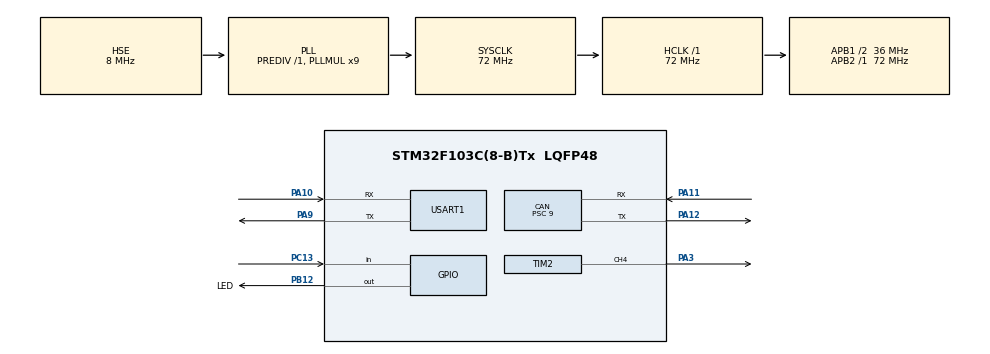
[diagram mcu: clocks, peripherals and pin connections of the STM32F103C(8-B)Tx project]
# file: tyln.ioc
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CAN.BS1=CAN_BS1_12TQ
CAN.BS2=CAN_BS2_3TQ
CAN.CalculateBaudRate=250000
CAN.CalculateTimeBit=4000
CAN.CalculateTimeQuantum=250.0
CAN.Prescaler=9
FREERTOS.Tasks01=CANTask,0,128,StartCANTask,Default,NULL,Dynamic,NULL,NULL;UARTTask,0,128,StartUARTTask,Default,NULL,Dynamic,NULL,NULL
Mcu.Family=STM32F1
Mcu.Name=STM32F103C(8-B)Tx
Mcu.Package=LQFP48
NVIC.PriorityGroup=NVIC_PRIORITYGROUP_4
NVIC.TIM2_IRQn=true\:5\:0\:false\:false\:true\:true\:true\:true\:true
NVIC.TIM4_IRQn=true\:15\:0\:false\:false\:true\:false\:false\:true\:true
NVIC.TimeBase=TIM4_IRQn
NVIC.TimeBaseIP=TIM4
NVIC.USART1_IRQn=true\:5\:0\:false\:false\:true\:true\:true\:true\:true
NVIC.USB_LP_CAN1_RX0_IRQn=true\:5\:0\:false\:false\:true\:true\:true\:true\:true
PA10.Mode=Asynchronous
PA10.Signal=USART1_RX
PA11.Mode=CAN_Activate
PA11.Signal=CAN_RX
PA12.Mode=CAN_Activate
PA12.Signal=CAN_TX
PA13.Mode=Serial_Wire
PA13.Signal=SYS_JTMS-SWDIO
PA14.Mode=Serial_Wire
PA14.Signal=SYS_JTCK-SWCLK
PA3.Signal=S_TIM2_CH4
PA9.Mode=Asynchronous
PA9.Signal=USART1_TX
PB12.GPIO_Label=LED
PB12.Signal=GPIO_Output
PC13-TAMPER-RTC.Signal=GPIO_Input
PD0-OSC_IN.Mode=HSE-External-Oscillator
PD0-OSC_IN.Signal=RCC_OSC_IN
PD1-OSC_OUT.Mode=HSE-External-Oscillator
PD1-OSC_OUT.Signal=RCC_OSC_OUT
ProjectManager.HeapSize=0x200
ProjectManager.StackSize=0x400
ProjectManager.TargetToolchain=CMake
RCC.AHBFreq_Value=72000000
RCC.APB1CLKDivider=RCC_HCLK_DIV2
RCC.APB1Freq_Value=36000000
RCC.APB1TimFreq_Value=72000000
RCC.APB2Freq_Value=72000000
RCC.APB2TimFreq_Value=72000000
RCC.HCLKFreq_Value=72000000
RCC.PLLMUL=RCC_PLL_MUL9
RCC.PLLSourceVirtual=RCC_PLLSOURCE_HSE
RCC.SYSCLKFreq_VALUE=72000000
RCC.SYSCLKSource=RCC_SYSCLKSOURCE_PLLCLK
RCC.USBFreq_Value=72000000
SH.S_TIM2_CH4.0=TIM2_CH4,PWM Generation4 CH4
TIM2.Channel-PWM\ Generation4\ CH4=TIM_CHANNEL_4
TIM2.Period=999
TIM2.Prescaler=71
USART1.VirtualMode=VM_ASYNC
VP_FREERTOS_VS_CMSIS_V1.Mode=CMSIS_V1
VP_SYS_VS_tim4.Mode=TIM4
VP_TIM2_VS_ClockSourceINT.Mode=Internal
board=custom

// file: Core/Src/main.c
/* USER CODE BEGIN Header */
/**
  ******************************************************************************
  * @file           : main.c
  * @brief          : Main program body
  ******************************************************************************
  */
/* USER CODE END Header */
#include "main.h"
#include "cmsis_os.h"

CAN_HandleTypeDef hcan;

osThreadId CANTaskHandle;
osThreadId UARTTaskHandle;
/* USER CODE BEGIN PV */
volatile uint8_t can_rx_flag = 0;
volatile uint16_t can_rx_value = 0;

volatile uint8_t usart_rx_flag = 0;
volatile uint16_t usart_rx_value = 0;

volatile uint32_t timer_tick = 0; // Donanım sayacı

/* PWM Duty Cycle for LED brightness on PA3
   0    = LED OFF
   500  = %50 Brightness
   1000 = %100 Brightness
*/
volatile int pwm_duty = 0;
volatile int led_state = 2; // PB12 LED state

uint8_t rx_data[2]; // Sadece 2 byte (16 bit) ham veri tutacak

/* Button states */
GPIO_PinState pa9_state;
GPIO_PinState pa10_state;

/* UART Haberleşme Değişkenleri */

uint8_t rx_byte;          // Gelen tek bir karakteri tutar
char rx_buffer[10];       // Gelen mesajı biriktirdiğimiz dizi (Örn: "500")
uint8_t rx_index = 0;     // Dizinin neresinde olduğumuzu tutar

CAN_TxHeaderTypeDef TxHeader;
uint8_t TxData[8];    // 8 Byte'lık CAN veri çerçevesi (Frame)
uint32_t TxMailbox;   // Verinin yollanacağı posta kutusu

/* Bilgisayardan gelen verileri okumak için gereken değişkenler */
CAN_RxHeaderTypeDef RxHeader;
uint8_t RxData[8];

/* 4 Adet Sabit CAN ID Tanımlaması (Standart 11-bit ID'ler) */
const uint32_t FIXED_IDS[4] = {0x10A, 0x20B, 0x30C, 0x40D};

/* USER CODE END PV */

void SystemClock_Config(void);
static void MX_GPIO_Init(void);
static void MX_TIM2_Init(void);
static void MX_CAN_Init(void);
static void MX_USART1_UART_Init(void);
void StartCANTask(void const * argument);
void StartUARTTask(void const * argument);

/* USER CODE BEGIN PFP */
void USART1_SendChar(char c);
void USART1_SendString(const char *str);
/* USER CODE END PFP */

int main(void)
{

  /* USER CODE BEGIN 1 */

  /* 0 = LED OFF, 1 = LED ON */

  /* USER CODE END 1 */

  /* MCU Configuration--------------------------------------------------------*/

  /* Reset of all peripherals, Initializes the Flash interface and the Systick. */
  HAL_Init();

  /* Configure the system clock */
  SystemClock_Config();

  /* Initialize all configured peripherals */
  MX_GPIO_Init();
  MX_TIM2_Init();
  MX_CAN_Init();
  MX_USART1_UART_Init();
  /* USER CODE BEGIN 2 */
    /* TIM2 PWM ve zamanlayıcı ayarları (LL kullanarak) */
    LL_TIM_CC_EnableChannel(TIM2, LL_TIM_CHANNEL_CH4);
    LL_TIM_ClearFlag_UPDATE(TIM2);
    LL_TIM_EnableIT_UPDATE(TIM2);
    LL_TIM_EnableCounter(TIM2);

  /* USART1 RXNE kesmesini aktif et */
  LL_USART_EnableIT_RXNE(USART1);

/* CAN Filtre Ayarları (Tüm ID'leri kabul edecek şekilde varsayılan ayar) */
  CAN_FilterTypeDef canfilterconfig;
  canfilterconfig.FilterActivation = CAN_FILTER_ENABLE;
  canfilterconfig.FilterBank = 0;
  canfilterconfig.FilterMode = CAN_FILTERMODE_IDMASK;
  canfilterconfig.FilterScale = CAN_FILTERSCALE_32BIT;
  canfilterconfig.FilterIdHigh = 0x0000;
  canfilterconfig.FilterIdLow = 0x0000;
  canfilterconfig.FilterMaskIdHigh = 0x0000;
  canfilterconfig.FilterMaskIdLow = 0x0000;
  canfilterconfig.FilterFIFOAssignment = CAN_RX_FIFO0;
  HAL_CAN_ConfigFilter(&hcan, &canfilterconfig);

  /* CAN Donanımını Başlat */
  HAL_CAN_Start(&hcan);

/* 2. CAN RX (Okuma) Kesmesini Aktif Et (BİLGİSAYARDAN VERİ ALMAK İÇİN KRİTİK) */
  HAL_CAN_ActivateNotification(&hcan, CAN_IT_RX_FIFO0_MSG_PENDING);

  /* USER CODE END 2 */

  /* Create the thread(s) */
  /* definition and creation of CANTask */
  osThreadDef(CANTask, StartCANTask, osPriorityNormal, 0, 128);
  CANTaskHandle = osThreadCreate(osThread(CANTask), NULL);

  /* definition and creation of UARTTask */
  osThreadDef(UARTTask, StartUARTTask, osPriorityNormal, 0, 128);
  UARTTaskHandle = osThreadCreate(osThread(UARTTask), NULL);

  /* Start scheduler */
  osKernelStart();

  /* We should never get here as control is now taken by the scheduler */

  /* Infinite loop */
  while (1)
  {

  }
}

void SystemClock_Config(void)
{
  RCC_OscInitTypeDef RCC_OscInitStruct = {0};
  RCC_ClkInitTypeDef RCC_ClkInitStruct = {0};

  /** Initializes the RCC Oscillators according to the specified parameters
  * in the RCC_OscInitTypeDef structure.
  */
  RCC_OscInitStruct.OscillatorType = RCC_OSCILLATORTYPE_HSE;
  RCC_OscInitStruct.HSEState = RCC_HSE_ON;
  RCC_OscInitStruct.HSEPredivValue = RCC_HSE_PREDIV_DIV1;
  RCC_OscInitStruct.HSIState = RCC_HSI_ON;
  RCC_OscInitStruct.PLL.PLLState = RCC_PLL_ON;
  RCC_OscInitStruct.PLL.PLLSource = RCC_PLLSOURCE_HSE;
  RCC_OscInitStruct.PLL.PLLMUL = RCC_PLL_MUL9;
  if (HAL_RCC_OscConfig(&RCC_OscInitStruct) != HAL_OK)
  {
    Error_Handler();
  }

  /** Initializes the CPU, AHB and APB buses clocks
  */
  RCC_ClkInitStruct.ClockType = RCC_CLOCKTYPE_HCLK|RCC_CLOCKTYPE_SYSCLK
                              |RCC_CLOCKTYPE_PCLK1|RCC_CLOCKTYPE_PCLK2;
  RCC_ClkInitStruct.SYSCLKSource = RCC_SYSCLKSOURCE_PLLCLK;
  RCC_ClkInitStruct.AHBCLKDivider = RCC_SYSCLK_DIV1;
  RCC_ClkInitStruct.APB1CLKDivider = RCC_HCLK_DIV2;
  RCC_ClkInitStruct.APB2CLKDivider = RCC_HCLK_DIV1;

  if (HAL_RCC_ClockConfig(&RCC_ClkInitStruct, FLASH_LATENCY_2) != HAL_OK)
  {
    Error_Handler();
  }
}

static void MX_CAN_Init(void)
{

  hcan.Instance = CAN1;
  hcan.Init.Prescaler = 9;
  hcan.Init.Mode = CAN_MODE_NORMAL;
  hcan.Init.SyncJumpWidth = CAN_SJW_1TQ;
  hcan.Init.TimeSeg1 = CAN_BS1_12TQ;
  hcan.Init.TimeSeg2 = CAN_BS2_3TQ;
  hcan.Init.TimeTriggeredMode = DISABLE;
  hcan.Init.AutoBusOff = DISABLE;
  hcan.Init.AutoWakeUp = DISABLE;
  hcan.Init.AutoRetransmission = DISABLE;
  hcan.Init.ReceiveFifoLocked = DISABLE;
  hcan.Init.TransmitFifoPriority = DISABLE;
  if (HAL_CAN_Init(&hcan) != HAL_OK)
  {
    Error_Handler();
  }

}

static void MX_TIM2_Init(void)
{

  LL_TIM_InitTypeDef TIM_InitStruct = {0};
  LL_TIM_OC_InitTypeDef TIM_OC_InitStruct = {0};

  LL_GPIO_InitTypeDef GPIO_InitStruct = {0};

  /* Peripheral clock enable */
  LL_APB1_GRP1_EnableClock(LL_APB1_GRP1_PERIPH_TIM2);

  /* TIM2 interrupt Init */
  NVIC_SetPriority(TIM2_IRQn, NVIC_EncodePriority(NVIC_GetPriorityGrouping(),5, 0));
  NVIC_EnableIRQ(TIM2_IRQn);

  TIM_InitStruct.Prescaler = 71;
  TIM_InitStruct.CounterMode = LL_TIM_COUNTERMODE_UP;
  TIM_InitStruct.Autoreload = 999;
  TIM_InitStruct.ClockDivision = LL_TIM_CLOCKDIVISION_DIV1;
  LL_TIM_Init(TIM2, &TIM_InitStruct);
  LL_TIM_DisableARRPreload(TIM2);
  LL_TIM_SetClockSource(TIM2, LL_TIM_CLOCKSOURCE_INTERNAL);
  LL_TIM_OC_EnablePreload(TIM2, LL_TIM_CHANNEL_CH4);
  TIM_OC_InitStruct.OCMode = LL_TIM_OCMODE_PWM1;
  TIM_OC_InitStruct.OCState = LL_TIM_OCSTATE_DISABLE;
  TIM_OC_InitStruct.OCNState = LL_TIM_OCSTATE_DISABLE;
  TIM_OC_InitStruct.CompareValue = 0;
  TIM_OC_InitStruct.OCPolarity = LL_TIM_OCPOLARITY_HIGH;
  LL_TIM_OC_Init(TIM2, LL_TIM_CHANNEL_CH4, &TIM_OC_InitStruct);
  LL_TIM_OC_DisableFast(TIM2, LL_TIM_CHANNEL_CH4);
  LL_TIM_SetTriggerOutput(TIM2, LL_TIM_TRGO_RESET);
  LL_TIM_DisableMasterSlaveMode(TIM2);
  LL_APB2_GRP1_EnableClock(LL_APB2_GRP1_PERIPH_GPIOA);
  /**TIM2 GPIO Configuration
  PA3   ------> TIM2_CH4
  */
  GPIO_InitStruct.Pin = LL_GPIO_PIN_3;
  GPIO_InitStruct.Mode = LL_GPIO_MODE_ALTERNATE;
  GPIO_InitStruct.Speed = LL_GPIO_SPEED_FREQ_LOW;
  GPIO_InitStruct.OutputType = LL_GPIO_OUTPUT_PUSHPULL;
  LL_GPIO_Init(GPIOA, &GPIO_InitStruct);

}

static void MX_USART1_UART_Init(void)
{

  LL_USART_InitTypeDef USART_InitStruct = {0};

  LL_GPIO_InitTypeDef GPIO_InitStruct = {0};

  /* Peripheral clock enable */
  LL_APB2_GRP1_EnableClock(LL_APB2_GRP1_PERIPH_USART1);

  LL_APB2_GRP1_EnableClock(LL_APB2_GRP1_PERIPH_GPIOA);
  /**USART1 GPIO Configuration
  PA9   ------> USART1_TX
  PA10   ------> USART1_RX
  */
  GPIO_InitStruct.Pin = LL_GPIO_PIN_9;
  GPIO_InitStruct.Mode = LL_GPIO_MODE_ALTERNATE;
  GPIO_InitStruct.Speed = LL_GPIO_SPEED_FREQ_HIGH;
  GPIO_InitStruct.OutputType = LL_GPIO_OUTPUT_PUSHPULL;
  LL_GPIO_Init(GPIOA, &GPIO_InitStruct);

  GPIO_InitStruct.Pin = LL_GPIO_PIN_10;
  GPIO_InitStruct.Mode = LL_GPIO_MODE_FLOATING;
  LL_GPIO_Init(GPIOA, &GPIO_InitStruct);

  /* USART1 interrupt Init */
  NVIC_SetPriority(USART1_IRQn, NVIC_EncodePriority(NVIC_GetPriorityGrouping(),5, 0));
  NVIC_EnableIRQ(USART1_IRQn);

  USART_InitStruct.BaudRate = 115200;
  USART_InitStruct.DataWidth = LL_USART_DATAWIDTH_8B;
  USART_InitStruct.StopBits = LL_USART_STOPBITS_1;
  USART_InitStruct.Parity = LL_USART_PARITY_NONE;
  USART_InitStruct.TransferDirection = LL_USART_DIRECTION_TX_RX;
  USART_InitStruct.HardwareFlowControl = LL_USART_HWCONTROL_NONE;
  USART_InitStruct.OverSampling = LL_USART_OVERSAMPLING_16;
  LL_USART_Init(USART1, &USART_InitStruct);
  LL_USART_ConfigAsyncMode(USART1);
  LL_USART_Enable(USART1);

}

static void MX_GPIO_Init(void)
{
  GPIO_InitTypeDef GPIO_InitStruct = {0};

  /* GPIO Ports Clock Enable */
  __HAL_RCC_GPIOC_CLK_ENABLE();
  __HAL_RCC_GPIOD_CLK_ENABLE();
  __HAL_RCC_GPIOA_CLK_ENABLE();
  __HAL_RCC_GPIOB_CLK_ENABLE();

  /*Configure GPIO pin Output Level */
  HAL_GPIO_WritePin(LED_GPIO_Port, LED_Pin, GPIO_PIN_RESET);

  /*Configure GPIO pin : PC13 */
  GPIO_InitStruct.Pin = GPIO_PIN_13;
  GPIO_InitStruct.Mode = GPIO_MODE_INPUT;
  GPIO_InitStruct.Pull = GPIO_NOPULL;
  HAL_GPIO_Init(GPIOC, &GPIO_InitStruct);

  /*Configure GPIO pin : LED_Pin */
  GPIO_InitStruct.Pin = LED_Pin;
  GPIO_InitStruct.Mode = GPIO_MODE_OUTPUT_PP;
  GPIO_InitStruct.Pull = GPIO_NOPULL;
  GPIO_InitStruct.Speed = GPIO_SPEED_FREQ_LOW;
  HAL_GPIO_Init(LED_GPIO_Port, &GPIO_InitStruct);

}

/* USER CODE BEGIN 4 */
void USART1_SendChar(char c)
{
  uint32_t timeout = 0xFFFF;
  while (!LL_USART_IsActiveFlag_TXE(USART1) && timeout > 0)
  {
    timeout--;
  }
  if (timeout > 0)
  {
    LL_USART_TransmitData8(USART1, c);
  }
}

void USART1_SendString(const char *str)
{
  while (*str)
  {
    USART1_SendChar(*str++);
  }
}

/* HAL CAN RX Callback (Artık kullanılmıyor, Bare-Metal ISR devrede) */
void HAL_CAN_RxFifo0MsgPendingCallback(CAN_HandleTypeDef *hcan)
{
}
/* USER CODE END 4 */

void StartCANTask(void const * argument)
{
  /* USER CODE BEGIN 5 */
  uint32_t random_val = 0;
  uint8_t id_index = 0;
  uint32_t last_can_tx_tick = timer_tick;

  for(;;)
  {
    if (can_rx_flag == 1)
    {
      can_rx_flag = 0;
      uint16_t temp_duty = can_rx_value;
      if (temp_duty > 1000) temp_duty = 1000;
      pwm_duty = temp_duty;
      LL_TIM_OC_SetCompareCH4(TIM2, pwm_duty);
    }

    if ((timer_tick - last_can_tx_tick) >= 50)
    {
      last_can_tx_tick = timer_tick;
      random_val++;

      uint32_t tdlr = (random_val & 0xFF) | (((random_val >> 8) & 0xFF) << 8) | (((random_val >> 16) & 0xFF) << 16) | (((random_val >> 24) & 0xFF) << 24);
      uint32_t tdhr = ((random_val * 3) & 0xFF) | (((random_val * 7) & 0xFF) << 8) | (((random_val * 11) & 0xFF) << 16) | (((random_val * 13) & 0xFF) << 24);

      if ((CAN1->TSR & CAN_TSR_TME0) == CAN_TSR_TME0)
      {
        CAN1->sTxMailBox[0].TDLR = tdlr;
        CAN1->sTxMailBox[0].TDHR = tdhr;
        CAN1->sTxMailBox[0].TDTR = 8;
        CAN1->sTxMailBox[0].TIR = (FIXED_IDS[id_index] << 21) | CAN_TI0R_TXRQ;
      }
      id_index++;
      if (id_index >= 4) id_index = 0;
    }
    osDelay(1);
  }
  /* USER CODE END 5 */
}

void StartUARTTask(void const * argument)
{
  /* USER CODE BEGIN StartUARTTask */
  uint32_t last_uart_tx_tick = timer_tick;
  for(;;)
  {
    if (usart_rx_flag == 1)
    {
      usart_rx_flag = 0;
      uint16_t temp_duty = usart_rx_value;
      if (temp_duty > 1000) temp_duty = 1000;
      pwm_duty = temp_duty;
      LL_TIM_OC_SetCompareCH4(TIM2, pwm_duty);
    }

    if (led_state == 0) LL_GPIO_ResetOutputPin(GPIOB, LL_GPIO_PIN_12);
    else if (led_state == 1) LL_GPIO_SetOutputPin(GPIOB, LL_GPIO_PIN_12);

    if ((timer_tick - last_uart_tx_tick) >= 5000)
    {
      last_uart_tx_tick = timer_tick;
      USART1_SendString("taylan buradaydi.\r\n");
    }
    osDelay(1);
  }
  /* USER CODE END StartUARTTask */
}

void HAL_TIM_PeriodElapsedCallback(TIM_HandleTypeDef *htim)
{
  if (htim->Instance == TIM4)
  {
    HAL_IncTick();
  }
}

void Error_Handler(void)
{
  __disable_irq();
  while (1)
  {
  }
}
